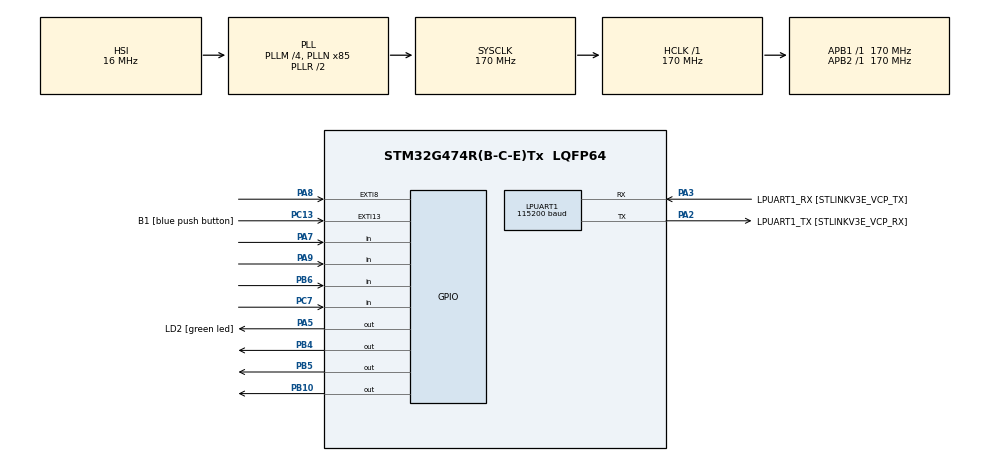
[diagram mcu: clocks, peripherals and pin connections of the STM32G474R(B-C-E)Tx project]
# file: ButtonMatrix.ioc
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LPUART1.BaudRate=115200
LPUART1.WordLength=UART_WORDLENGTH_8B
Mcu.Family=STM32G4
Mcu.Name=STM32G474R(B-C-E)Tx
Mcu.Package=LQFP64
NVIC.EXTI15_10_IRQn=true\:0\:0\:false\:false\:true\:true\:true\:true
NVIC.EXTI9_5_IRQn=true\:0\:0\:false\:false\:true\:true\:true\:true
NVIC.PriorityGroup=NVIC_PRIORITYGROUP_4
PA13.GPIO_Label=T_SWDIO
PA13.Mode=Serial_Wire
PA13.Signal=SYS_JTMS-SWDIO
PA14.GPIO_Label=T_SWCLK
PA14.Mode=Serial_Wire
PA14.Signal=SYS_JTCK-SWCLK
PA2.GPIO_Label=LPUART1_TX [STLINKV3E_VCP_RX]
PA2.Mode=Asynchronous
PA2.Signal=LPUART1_TX
PA3.GPIO_Label=LPUART1_RX [STLINKV3E_VCP_TX]
PA3.Mode=Asynchronous
PA3.Signal=LPUART1_RX
PA5.GPIO_Label=LD2 [green led]
PA5.Signal=GPIO_Output
PA7.GPIO_Mode=GPIO_MODE_INPUT
PA7.GPIO_PuPd=GPIO_PULLUP
PA7.Signal=GPIO_Input
PA8.Signal=GPXTI8
PA9.GPIO_Mode=GPIO_MODE_INPUT
PA9.GPIO_PuPd=GPIO_PULLUP
PA9.Signal=GPIO_Input
PB10.GPIO_ModeDefaultOutputPP=GPIO_MODE_OUTPUT_OD
PB10.GPIO_PuPd=GPIO_NOPULL
PB10.GPIO_Speed=GPIO_SPEED_FREQ_LOW
PB10.PinState=GPIO_PIN_SET
PB10.Signal=GPIO_Output
PB3.GPIO_Label=T_SWO
PB3.Signal=SYS_JTDO-SWO
PB4.GPIO_ModeDefaultOutputPP=GPIO_MODE_OUTPUT_OD
PB4.GPIO_PuPd=GPIO_NOPULL
PB4.GPIO_Speed=GPIO_SPEED_FREQ_LOW
PB4.PinState=GPIO_PIN_SET
PB4.Signal=GPIO_Output
PB5.GPIO_ModeDefaultOutputPP=GPIO_MODE_OUTPUT_OD
PB5.GPIO_PuPd=GPIO_NOPULL
PB5.GPIO_Speed=GPIO_SPEED_FREQ_LOW
PB5.PinState=GPIO_PIN_SET
PB5.Signal=GPIO_Output
PB6.GPIO_Mode=GPIO_MODE_INPUT
PB6.GPIO_PuPd=GPIO_PULLUP
PB6.Signal=GPIO_Input
PC13.GPIO_Label=B1 [blue push button]
PC13.Signal=GPXTI13
PC14-OSC32_IN.Mode=LSE-External-Oscillator
PC14-OSC32_IN.Signal=RCC_OSC32_IN
PC15-OSC32_OUT.Mode=LSE-External-Oscillator
PC15-OSC32_OUT.Signal=RCC_OSC32_OUT
PC7.GPIO_Mode=GPIO_MODE_INPUT
PC7.GPIO_PuPd=GPIO_PULLUP
PC7.Signal=GPIO_Input
PF0-OSC_IN.Mode=HSE-External-Oscillator
PF0-OSC_IN.Signal=RCC_OSC_IN
PF1-OSC_OUT.Mode=HSE-External-Oscillator
PF1-OSC_OUT.Signal=RCC_OSC_OUT
ProjectManager.HeapSize=0x200
ProjectManager.StackSize=0x400
ProjectManager.TargetToolchain=STM32CubeIDE
RCC.ADC12Freq_Value=170000000
RCC.ADC345Freq_Value=170000000
RCC.AHBFreq_Value=170000000
RCC.APB1Freq_Value=170000000
RCC.APB1TimFreq_Value=170000000
RCC.APB2Freq_Value=170000000
RCC.APB2TimFreq_Value=170000000
RCC.CortexFreq_Value=170000000
RCC.EXTERNAL_CLOCK_VALUE=12288000
RCC.HCLKFreq_Value=170000000
RCC.HSE_VALUE=24000000
RCC.HSI48_VALUE=48000000
RCC.HSI_VALUE=16000000
RCC.PLLM=RCC_PLLM_DIV4
RCC.PLLN=85
RCC.RTCClockSelection=RCC_RTCCLKSOURCE_LSE
RCC.SYSCLKFreq_VALUE=170000000
RCC.SYSCLKSource=RCC_SYSCLKSOURCE_PLLCLK
RCC.USBFreq_Value=170000000
RCC.VCOOutputFreq_Value=340000000
VP_SYS_VS_DBSignals.Mode=DisableDeadBatterySignals
board=NUCLEO-G474RE

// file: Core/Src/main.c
/* USER CODE BEGIN Header */
/**
  ******************************************************************************
  * @file           : main.c
  * @brief          : Main program body
  ******************************************************************************
  * @attention
  *
  * Copyright (c) 2023 STMicroelectronics.
  * All rights reserved.
  *
  * This software is licensed under terms that can be found in the LICENSE file
  * in the root directory of this software component.
  * If no LICENSE file comes with this software, it is provided AS-IS.
  *
  ******************************************************************************
  */
/* USER CODE END Header */
#include "main.h"

UART_HandleTypeDef hlpuart1;

/* USER CODE BEGIN PV */
struct _ButMtx_Struct
{
	GPIO_TypeDef* Port;
	uint16_t Pin;
};

struct _ButMtx_Struct BMX_L[4] =
{
	{GPIOA,GPIO_PIN_9},
	{GPIOC,GPIO_PIN_7},
	{GPIOB,GPIO_PIN_6},
	{GPIOA,GPIO_PIN_7}
};

struct _ButMtx_Struct BMX_R[3] =
{
	{GPIOB,GPIO_PIN_5},
	{GPIOB,GPIO_PIN_4},
	{GPIOB,GPIO_PIN_10},
};

uint16_t ButtonState = 0;

int Number;
int i;
int State;

int StudentID[11] = {};
int CheckStudentID[11] = {6,5,3,4,0,5,0,0,0,5,1};

/* USER CODE END PV */

void SystemClock_Config(void);
static void MX_GPIO_Init(void);
static void MX_LPUART1_UART_Init(void);
/* USER CODE BEGIN PFP */
void ButtonMatrixRead();
void CheckID(int _StudentID[11]);
/* USER CODE END PFP */

int main(void)
{

  /* MCU Configuration--------------------------------------------------------*/

  /* Reset of all peripherals, Initializes the Flash interface and the Systick. */
  HAL_Init();

  /* Configure the system clock */
  SystemClock_Config();

  /* Initialize all configured peripherals */
  MX_GPIO_Init();
  MX_LPUART1_UART_Init();

  /* Infinite loop */
  while (1)
  {

    /* USER CODE BEGIN 3 */
	  static uint32_t BTMX_TimeStamp = 0;

	  if(HAL_GetTick() > BTMX_TimeStamp)
	  {
		  BTMX_TimeStamp = HAL_GetTick() + 25; //next scan in 25 ms
		  ButtonMatrixRead();
		  CheckID(CheckStudentID);
//		  HAL_GPIO_EXTI_Callback(GPIO_PIN_8);
	  }
  }
  /* USER CODE END 3 */
}

void SystemClock_Config(void)
{
  RCC_OscInitTypeDef RCC_OscInitStruct = {0};
  RCC_ClkInitTypeDef RCC_ClkInitStruct = {0};

  /** Configure the main internal regulator output voltage
  */
  HAL_PWREx_ControlVoltageScaling(PWR_REGULATOR_VOLTAGE_SCALE1_BOOST);

  /** Initializes the RCC Oscillators according to the specified parameters
  * in the RCC_OscInitTypeDef structure.
  */
  RCC_OscInitStruct.OscillatorType = RCC_OSCILLATORTYPE_HSI;
  RCC_OscInitStruct.HSIState = RCC_HSI_ON;
  RCC_OscInitStruct.HSICalibrationValue = RCC_HSICALIBRATION_DEFAULT;
  RCC_OscInitStruct.PLL.PLLState = RCC_PLL_ON;
  RCC_OscInitStruct.PLL.PLLSource = RCC_PLLSOURCE_HSI;
  RCC_OscInitStruct.PLL.PLLM = RCC_PLLM_DIV4;
  RCC_OscInitStruct.PLL.PLLN = 85;
  RCC_OscInitStruct.PLL.PLLP = RCC_PLLP_DIV2;
  RCC_OscInitStruct.PLL.PLLQ = RCC_PLLQ_DIV2;
  RCC_OscInitStruct.PLL.PLLR = RCC_PLLR_DIV2;
  if (HAL_RCC_OscConfig(&RCC_OscInitStruct) != HAL_OK)
  {
    Error_Handler();
  }

  /** Initializes the CPU, AHB and APB buses clocks
  */
  RCC_ClkInitStruct.ClockType = RCC_CLOCKTYPE_HCLK|RCC_CLOCKTYPE_SYSCLK
                              |RCC_CLOCKTYPE_PCLK1|RCC_CLOCKTYPE_PCLK2;
  RCC_ClkInitStruct.SYSCLKSource = RCC_SYSCLKSOURCE_PLLCLK;
  RCC_ClkInitStruct.AHBCLKDivider = RCC_SYSCLK_DIV1;
  RCC_ClkInitStruct.APB1CLKDivider = RCC_HCLK_DIV1;
  RCC_ClkInitStruct.APB2CLKDivider = RCC_HCLK_DIV1;

  if (HAL_RCC_ClockConfig(&RCC_ClkInitStruct, FLASH_LATENCY_4) != HAL_OK)
  {
    Error_Handler();
  }
}

static void MX_LPUART1_UART_Init(void)
{

  hlpuart1.Instance = LPUART1;
  hlpuart1.Init.BaudRate = 115200;
  hlpuart1.Init.WordLength = UART_WORDLENGTH_8B;
  hlpuart1.Init.StopBits = UART_STOPBITS_1;
  hlpuart1.Init.Parity = UART_PARITY_NONE;
  hlpuart1.Init.Mode = UART_MODE_TX_RX;
  hlpuart1.Init.HwFlowCtl = UART_HWCONTROL_NONE;
  hlpuart1.Init.OneBitSampling = UART_ONE_BIT_SAMPLE_DISABLE;
  hlpuart1.Init.ClockPrescaler = UART_PRESCALER_DIV1;
  hlpuart1.AdvancedInit.AdvFeatureInit = UART_ADVFEATURE_NO_INIT;
  if (HAL_UART_Init(&hlpuart1) != HAL_OK)
  {
    Error_Handler();
  }
  if (HAL_UARTEx_SetTxFifoThreshold(&hlpuart1, UART_TXFIFO_THRESHOLD_1_8) != HAL_OK)
  {
    Error_Handler();
  }
  if (HAL_UARTEx_SetRxFifoThreshold(&hlpuart1, UART_RXFIFO_THRESHOLD_1_8) != HAL_OK)
  {
    Error_Handler();
  }
  if (HAL_UARTEx_DisableFifoMode(&hlpuart1) != HAL_OK)
  {
    Error_Handler();
  }

}

static void MX_GPIO_Init(void)
{
  GPIO_InitTypeDef GPIO_InitStruct = {0};

  /* GPIO Ports Clock Enable */
  __HAL_RCC_GPIOC_CLK_ENABLE();
  __HAL_RCC_GPIOF_CLK_ENABLE();
  __HAL_RCC_GPIOA_CLK_ENABLE();
  __HAL_RCC_GPIOB_CLK_ENABLE();

  /*Configure GPIO pin Output Level */
  HAL_GPIO_WritePin(LD2_GPIO_Port, LD2_Pin, GPIO_PIN_RESET);

  /*Configure GPIO pin Output Level */
  HAL_GPIO_WritePin(GPIOB, GPIO_PIN_10|GPIO_PIN_4|GPIO_PIN_5, GPIO_PIN_SET);

  /*Configure GPIO pin : B1_Pin */
  GPIO_InitStruct.Pin = B1_Pin;
  GPIO_InitStruct.Mode = GPIO_MODE_IT_RISING;
  GPIO_InitStruct.Pull = GPIO_NOPULL;
  HAL_GPIO_Init(B1_GPIO_Port, &GPIO_InitStruct);

  /*Configure GPIO pin : LD2_Pin */
  GPIO_InitStruct.Pin = LD2_Pin;
  GPIO_InitStruct.Mode = GPIO_MODE_OUTPUT_PP;
  GPIO_InitStruct.Pull = GPIO_NOPULL;
  GPIO_InitStruct.Speed = GPIO_SPEED_FREQ_LOW;
  HAL_GPIO_Init(LD2_GPIO_Port, &GPIO_InitStruct);

  /*Configure GPIO pins : PA7 PA9 */
  GPIO_InitStruct.Pin = GPIO_PIN_7|GPIO_PIN_9;
  GPIO_InitStruct.Mode = GPIO_MODE_INPUT;
  GPIO_InitStruct.Pull = GPIO_PULLUP;
  HAL_GPIO_Init(GPIOA, &GPIO_InitStruct);

  /*Configure GPIO pins : PB10 PB4 PB5 */
  GPIO_InitStruct.Pin = GPIO_PIN_10|GPIO_PIN_4|GPIO_PIN_5;
  GPIO_InitStruct.Mode = GPIO_MODE_OUTPUT_OD;
  GPIO_InitStruct.Pull = GPIO_NOPULL;
  GPIO_InitStruct.Speed = GPIO_SPEED_FREQ_LOW;
  HAL_GPIO_Init(GPIOB, &GPIO_InitStruct);

  /*Configure GPIO pin : PC7 */
  GPIO_InitStruct.Pin = GPIO_PIN_7;
  GPIO_InitStruct.Mode = GPIO_MODE_INPUT;
  GPIO_InitStruct.Pull = GPIO_PULLUP;
  HAL_GPIO_Init(GPIOC, &GPIO_InitStruct);

  /*Configure GPIO pin : PA8 */
  GPIO_InitStruct.Pin = GPIO_PIN_8;
  GPIO_InitStruct.Mode = GPIO_MODE_IT_RISING;
  GPIO_InitStruct.Pull = GPIO_NOPULL;
  HAL_GPIO_Init(GPIOA, &GPIO_InitStruct);

  /*Configure GPIO pin : PB6 */
  GPIO_InitStruct.Pin = GPIO_PIN_6;
  GPIO_InitStruct.Mode = GPIO_MODE_INPUT;
  GPIO_InitStruct.Pull = GPIO_PULLUP;
  HAL_GPIO_Init(GPIOB, &GPIO_InitStruct);

  /* EXTI interrupt init*/
  HAL_NVIC_SetPriority(EXTI9_5_IRQn, 0, 0);
  HAL_NVIC_EnableIRQ(EXTI9_5_IRQn);

  HAL_NVIC_SetPriority(EXTI15_10_IRQn, 0, 0);
  HAL_NVIC_EnableIRQ(EXTI15_10_IRQn);

}

/* USER CODE BEGIN 4 */
void HAL_GPIO_EXTI_Callback(uint16_t GPIO_Pin)
{
	if(GPIO_Pin == GPIO_PIN_8)
	{
//		HAL_GPIO_TogglePin(GPIOA, GPIO_PIN_5);
		NVIC_SystemReset();
	}
}

void ButtonMatrixRead(){
	static uint8_t X=0;

	for(int i=0; i<4; i++)
	{
		if(HAL_GPIO_ReadPin(BMX_L[i].Port, BMX_L[i].Pin) == GPIO_PIN_RESET)
		{
			ButtonState |= 1 << (i + (X * 4));
		}
		else
		{
			ButtonState &= ~(1 << (i + (X * 4)));
		}
	}

	//set currentL to Hi-z (open drain)
	HAL_GPIO_WritePin(BMX_R[X].Port, BMX_R[X].Pin, GPIO_PIN_SET);

	//set nextL to low
	uint8_t nextX = (X + 1) % 3;
	HAL_GPIO_WritePin(BMX_R[nextX].Port, BMX_R[nextX].Pin, GPIO_PIN_RESET);

	X = nextX;
}

void CheckID(int _StudentID[11])
{
	switch (ButtonState)
	{
		case 1:
			Number = 7;
			break;
		case 2:
			Number = 4;
			break;
		case 4:
			Number = 1;
			break;
		case 8:
			Number = 0;
			break;

		case 16:
			Number = 8;
			break;
		case 32:
			Number = 5;
			break;
		case 64:
			Number = 2;
			break;

		case 256:
			Number = 9;
			break;
		case 512:
			Number = 6;
			break;
		case 1024:
			Number = 3;
			break;
	}

	if(i == 11){i = 0;}
	if(ButtonState != 0 && ButtonState != 128 && ButtonState != 2048){State = 1;}

	if(State == 1)
	{
		if(ButtonState == 0)
		{
			StudentID[i] = Number;
			i++;
			State = 0;
		}
	}

	if(memcmp(StudentID, _StudentID, sizeof(StudentID)) == 0 && ButtonState == 2048)
	{
		memset(StudentID, 0, sizeof(StudentID));
		HAL_GPIO_WritePin(GPIOA, GPIO_PIN_5, 1);
	}

}

/* USER CODE END 4 */

void Error_Handler(void)
{
  __disable_irq();
  while (1)
  {
  }
}
